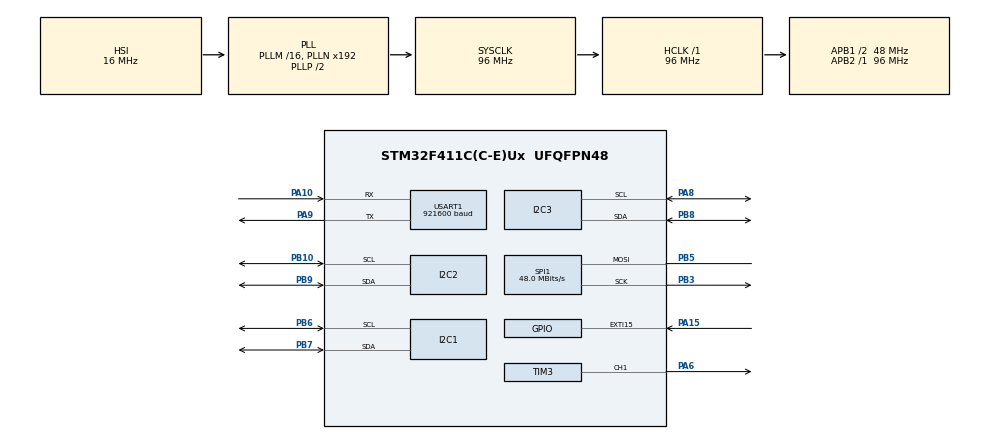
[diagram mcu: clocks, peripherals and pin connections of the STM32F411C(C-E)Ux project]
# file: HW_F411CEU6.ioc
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Dma.Request0=SPI1_TX
Dma.Request1=USART1_RX
Dma.Request2=USART1_TX
Dma.SPI1_TX.0.Direction=DMA_MEMORY_TO_PERIPH
Dma.SPI1_TX.0.FIFOMode=DMA_FIFOMODE_DISABLE
Dma.SPI1_TX.0.Instance=DMA2_Stream2
Dma.SPI1_TX.0.MemDataAlignment=DMA_MDATAALIGN_HALFWORD
Dma.SPI1_TX.0.MemInc=DMA_MINC_ENABLE
Dma.SPI1_TX.0.Mode=DMA_NORMAL
Dma.SPI1_TX.0.PeriphDataAlignment=DMA_PDATAALIGN_HALFWORD
Dma.SPI1_TX.0.PeriphInc=DMA_PINC_DISABLE
Dma.SPI1_TX.0.Priority=DMA_PRIORITY_VERY_HIGH
Dma.USART1_RX.1.Direction=DMA_PERIPH_TO_MEMORY
Dma.USART1_RX.1.FIFOMode=DMA_FIFOMODE_DISABLE
Dma.USART1_RX.1.Instance=DMA2_Stream5
Dma.USART1_RX.1.MemDataAlignment=DMA_MDATAALIGN_BYTE
Dma.USART1_RX.1.MemInc=DMA_MINC_ENABLE
Dma.USART1_RX.1.Mode=DMA_NORMAL
Dma.USART1_RX.1.PeriphDataAlignment=DMA_PDATAALIGN_BYTE
Dma.USART1_RX.1.PeriphInc=DMA_PINC_DISABLE
Dma.USART1_RX.1.Priority=DMA_PRIORITY_HIGH
Dma.USART1_TX.2.Direction=DMA_MEMORY_TO_PERIPH
Dma.USART1_TX.2.FIFOMode=DMA_FIFOMODE_DISABLE
Dma.USART1_TX.2.Instance=DMA2_Stream7
Dma.USART1_TX.2.MemDataAlignment=DMA_MDATAALIGN_BYTE
Dma.USART1_TX.2.MemInc=DMA_MINC_ENABLE
Dma.USART1_TX.2.Mode=DMA_NORMAL
Dma.USART1_TX.2.PeriphDataAlignment=DMA_PDATAALIGN_BYTE
Dma.USART1_TX.2.PeriphInc=DMA_PINC_DISABLE
Dma.USART1_TX.2.Priority=DMA_PRIORITY_HIGH
FREERTOS.INCLUDE_vTaskDelayUntil=1
FREERTOS.Queues01=EepromQueue,16,uint8_t,0,Static,EepromQueueBuffer,EepromQueueControlBlock;CliQueue,5,uint16_t,0,Static,CliQueueBuffer,CliQueueControlBlock
FREERTOS.Tasks01=EepromTask,0,128,StartEepromTask,Default,NULL,Static,EepromTaskBuffer,EepromTaskControlBlock;LvglTask,0,2048,StartLvglTask,Default,NULL,Static,LvglTaskBuffer,LvglTaskControlBlock;IdleTask,-3,128,StartIdleTask,Default,NULL,Static,IdleTaskBuffer,IdleTaskControlBlock
FREERTOS.configENABLE_FPU=0
FREERTOS.configMAX_PRIORITIES=5
FREERTOS.configMINIMAL_STACK_SIZE=128
FREERTOS.configTICK_RATE_HZ=200
FREERTOS.configTOTAL_HEAP_SIZE=5120
I2C1.I2C_Mode=I2C_Fast
I2C2.DutyCycle=I2C_DUTYCYCLE_2
I2C2.I2C_Mode=I2C_Fast
I2C2.NoStretchMode=I2C_NOSTRETCH_DISABLE
I2C3.I2C_Mode=I2C_Fast
IWDG.Prescaler=IWDG_PRESCALER_8
Mcu.Family=STM32F4
Mcu.Name=STM32F411C(C-E)Ux
Mcu.Package=UFQFPN48
NVIC.DMA2_Stream2_IRQn=true\:5\:0\:false\:false\:true\:true\:false\:true\:true
NVIC.DMA2_Stream5_IRQn=true\:5\:0\:false\:false\:true\:true\:false\:true\:true
NVIC.DMA2_Stream7_IRQn=true\:5\:0\:false\:false\:true\:true\:false\:true\:true
NVIC.EXTI15_10_IRQn=true\:5\:0\:false\:false\:true\:true\:true\:true\:true
NVIC.PriorityGroup=NVIC_PRIORITYGROUP_4
NVIC.TIM1_BRK_TIM9_IRQn=true\:15\:0\:false\:false\:true\:false\:false\:true\:true
NVIC.TIM1_TRG_COM_TIM11_IRQn=true\:5\:0\:false\:false\:true\:true\:true\:true\:true
NVIC.TimeBase=TIM1_BRK_TIM9_IRQn
NVIC.TimeBaseIP=TIM9
PA10.Mode=Asynchronous
PA10.Signal=USART1_RX
PA13.Mode=Serial_Wire
PA13.Signal=SYS_JTMS-SWDIO
PA14.Mode=Serial_Wire
PA14.Signal=SYS_JTCK-SWCLK
PA15.GPIO_ModeDefaultEXTI=GPIO_MODE_IT_FALLING
PA15.Signal=GPXTI15
PA6.Signal=S_TIM3_CH1
PA8.Mode=I2C
PA8.Signal=I2C3_SCL
PA9.Mode=Asynchronous
PA9.Signal=USART1_TX
PB10.Mode=I2C
PB10.Signal=I2C2_SCL
PB3.Mode=Simplex_Bidirectional_Master
PB3.Signal=SPI1_SCK
PB5.Mode=Simplex_Bidirectional_Master
PB5.Signal=SPI1_MOSI
PB6.Mode=I2C
PB6.Signal=I2C1_SCL
PB7.Mode=I2C
PB7.Signal=I2C1_SDA
PB8.Mode=I2C
PB8.Signal=I2C3_SDA
PB9.Mode=I2C
PB9.Signal=I2C2_SDA
PC14-OSC32_IN.Mode=LSE-External-Oscillator
PC14-OSC32_IN.Signal=RCC_OSC32_IN
PC15-OSC32_OUT.Mode=LSE-External-Oscillator
PC15-OSC32_OUT.Signal=RCC_OSC32_OUT
ProjectManager.HeapSize=0x200
ProjectManager.StackSize=0x400
ProjectManager.TargetToolchain=STM32CubeIDE
RCC.AHBFreq_Value=96000000
RCC.APB1CLKDivider=RCC_HCLK_DIV2
RCC.APB1Freq_Value=48000000
RCC.APB1TimFreq_Value=96000000
RCC.APB2Freq_Value=96000000
RCC.APB2TimFreq_Value=96000000
RCC.CortexFreq_Value=96000000
RCC.HCLKFreq_Value=96000000
RCC.HSE_VALUE=25000000
RCC.HSI_VALUE=16000000
RCC.RCC_RTC_Clock_Source=RCC_RTCCLKSOURCE_LSE
RCC.RCC_RTC_Clock_SourceVirtual=RCC_RTCCLKSOURCE_LSE
RCC.SYSCLKFreq_VALUE=96000000
RCC.SYSCLKSource=RCC_SYSCLKSOURCE_PLLCLK
RCC.VCOOutputFreq_Value=192000000
RTC.Format=RTC_FORMAT_BIN
RTC.SynchPrediv=255
SH.S_TIM3_CH1.0=TIM3_CH1,PWM Generation1 CH1
SPI1.BaudRatePrescaler=SPI_BAUDRATEPRESCALER_2
SPI1.CLKPhase=SPI_PHASE_2EDGE
SPI1.CLKPolarity=SPI_POLARITY_HIGH
SPI1.CalculateBaudRate=48.0 MBits/s
SPI1.Direction=SPI_DIRECTION_1LINE
SPI1.Mode=SPI_MODE_MASTER
SPI1.VirtualType=VM_MASTER
TIM11.AutoReloadPreload=TIM_AUTORELOAD_PRELOAD_ENABLE
TIM11.Period=4999
TIM11.Prescaler=9599
TIM3.Channel-PWM\ Generation1\ CH1=TIM_CHANNEL_1
TIM3.OCMode_PWM-PWM\ Generation1\ CH1=TIM_OCMODE_PWM1
TIM3.Period=300
TIM3.Prescaler=96
USART1.BaudRate=921600
USART1.VirtualMode=VM_ASYNC
VP_CRC_VS_CRC.Mode=CRC_Activate
VP_FREERTOS_VS_CMSIS_V1.Mode=CMSIS_V1
VP_IWDG_VS_IWDG.Mode=IWDG_Activate
VP_RTC_VS_RTC_Activate.Mode=RTC_Enabled
VP_RTC_VS_RTC_Calendar.Mode=RTC_Calendar
VP_SYS_VS_tim9.Mode=TIM9
VP_TIM11_VS_ClockSourceINT.Mode=Enable_Timer
board=custom

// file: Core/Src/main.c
/* USER CODE BEGIN Header */
/**
  ******************************************************************************
  * @file           : main.c
  * @brief          : Main program body
  ******************************************************************************
  * @attention
  *
  * Copyright (c) 2024 STMicroelectronics.
  * All rights reserved.
  *
  * This software is licensed under terms that can be found in the LICENSE file
  * in the root directory of this software component.
  * If no LICENSE file comes with this software, it is provided AS-IS.
  *
  ******************************************************************************
  */
/* USER CODE END Header */
#include "main.h"
#include "cmsis_os.h"

/* USER CODE BEGIN Includes */
#include "sys.h"
#include "power.h"
#include "nvm.h"
#include "RTC.h"
#include "ST7789.h"
#include "CST816.h"
#include "BL24C02F.h"

#include "cli.h"
#include "debugPins.h"

#include "lvgl/lvgl.h"
#include "lvgl/lv_port_disp.h"
#include "lvgl/lv_port_indev.h"
#include "lvgl/gui/GUI.h"
/* USER CODE END Includes */

CRC_HandleTypeDef hcrc;

I2C_HandleTypeDef hi2c1;
I2C_HandleTypeDef hi2c2;
I2C_HandleTypeDef hi2c3;

IWDG_HandleTypeDef hiwdg;

RTC_HandleTypeDef hrtc;

SPI_HandleTypeDef hspi1;
DMA_HandleTypeDef hdma_spi1_tx;

TIM_HandleTypeDef htim3;
TIM_HandleTypeDef htim11;

UART_HandleTypeDef huart1;
DMA_HandleTypeDef hdma_usart1_rx;
DMA_HandleTypeDef hdma_usart1_tx;

osThreadId EepromTaskHandle;
uint32_t EepromTaskBuffer[ 128 ];
osStaticThreadDef_t EepromTaskControlBlock;
osThreadId LvglTaskHandle;
uint32_t LvglTaskBuffer[ 2048 ];
osStaticThreadDef_t LvglTaskControlBlock;
osThreadId IdleTaskHandle;
uint32_t IdleTaskBuffer[ 128 ];
osStaticThreadDef_t IdleTaskControlBlock;
osMessageQId EepromQueueHandle;
uint8_t EepromQueueBuffer[ 16 * sizeof( uint8_t ) ];
osStaticMessageQDef_t EepromQueueControlBlock;
osMessageQId CliQueueHandle;
uint8_t CliQueueBuffer[ 5 * sizeof( uint16_t ) ];
osStaticMessageQDef_t CliQueueControlBlock;

void SystemClock_Config(void);
static void MX_GPIO_Init(void);
static void MX_DMA_Init(void);
static void MX_SPI1_Init(void);
static void MX_I2C1_Init(void);
static void MX_RTC_Init(void);
static void MX_I2C2_Init(void);
static void MX_TIM3_Init(void);
static void MX_CRC_Init(void);
static void MX_I2C3_Init(void);
static void MX_USART1_UART_Init(void);
static void MX_IWDG_Init(void);
static void MX_TIM11_Init(void);
void StartEepromTask(void const * argument);
void StartLvglTask(void const * argument);
void StartIdleTask(void const * argument);

int main(void)
{

  /* MCU Configuration--------------------------------------------------------*/

  /* Reset of all peripherals, Initializes the Flash interface and the Systick. */
  HAL_Init();

  /* USER CODE BEGIN Init */
  __enable_irq();
  /* USER CODE END Init */

  /* Configure the system clock */
  SystemClock_Config();

  /* USER CODE BEGIN SysInit */
  SYS_Build_Init();
  /* USER CODE END SysInit */

  /* Initialize all configured peripherals */
  MX_GPIO_Init();
  MX_DMA_Init();
  MX_SPI1_Init();
  MX_I2C1_Init();
  MX_RTC_Init();
  MX_I2C2_Init();
  MX_TIM3_Init();
  MX_CRC_Init();
  MX_I2C3_Init();
  MX_USART1_UART_Init();
  MX_IWDG_Init();
  MX_TIM11_Init();
  /* USER CODE BEGIN 2 */
  PWR_ENABLE();
  NvM_StartUp();
  PWR_Startup();
  RTC_Init();
  lv_init();
  lv_port_disp_init();
  lv_port_indev_init();
  GUI_Init();
  HAL_IWDG_Refresh(&hiwdg);

  /* USER CODE END 2 */

  /* Create the queue(s) */
  /* definition and creation of EepromQueue */
  osMessageQStaticDef(EepromQueue, 16, uint8_t, EepromQueueBuffer, &EepromQueueControlBlock);
  EepromQueueHandle = osMessageCreate(osMessageQ(EepromQueue), NULL);

  /* definition and creation of CliQueue */
  osMessageQStaticDef(CliQueue, 5, uint16_t, CliQueueBuffer, &CliQueueControlBlock);
  CliQueueHandle = osMessageCreate(osMessageQ(CliQueue), NULL);

  /* Create the thread(s) */
  /* definition and creation of EepromTask */
  osThreadStaticDef(EepromTask, StartEepromTask, osPriorityNormal, 0, 128, EepromTaskBuffer, &EepromTaskControlBlock);
  EepromTaskHandle = osThreadCreate(osThread(EepromTask), NULL);

  /* definition and creation of LvglTask */
  osThreadStaticDef(LvglTask, StartLvglTask, osPriorityNormal, 0, 2048, LvglTaskBuffer, &LvglTaskControlBlock);
  LvglTaskHandle = osThreadCreate(osThread(LvglTask), NULL);

  /* definition and creation of IdleTask */
  osThreadStaticDef(IdleTask, StartIdleTask, osPriorityIdle, 0, 128, IdleTaskBuffer, &IdleTaskControlBlock);
  IdleTaskHandle = osThreadCreate(osThread(IdleTask), NULL);

  /* Start scheduler */
  osKernelStart();

  /* We should never get here as control is now taken by the scheduler */
  /* Infinite loop */
  while (1)
  {

  }
}

void SystemClock_Config(void)
{
  RCC_OscInitTypeDef RCC_OscInitStruct = {0};
  RCC_ClkInitTypeDef RCC_ClkInitStruct = {0};

  /** Configure the main internal regulator output voltage
  */
  __HAL_RCC_PWR_CLK_ENABLE();
  __HAL_PWR_VOLTAGESCALING_CONFIG(PWR_REGULATOR_VOLTAGE_SCALE1);

  /** Initializes the RCC Oscillators according to the specified parameters
  * in the RCC_OscInitTypeDef structure.
  */
  RCC_OscInitStruct.OscillatorType = RCC_OSCILLATORTYPE_HSI|RCC_OSCILLATORTYPE_LSI
                              |RCC_OSCILLATORTYPE_LSE;
  RCC_OscInitStruct.LSEState = RCC_LSE_ON;
  RCC_OscInitStruct.HSIState = RCC_HSI_ON;
  RCC_OscInitStruct.HSICalibrationValue = RCC_HSICALIBRATION_DEFAULT;
  RCC_OscInitStruct.LSIState = RCC_LSI_ON;
  RCC_OscInitStruct.PLL.PLLState = RCC_PLL_ON;
  RCC_OscInitStruct.PLL.PLLSource = RCC_PLLSOURCE_HSI;
  RCC_OscInitStruct.PLL.PLLM = 16;
  RCC_OscInitStruct.PLL.PLLN = 192;
  RCC_OscInitStruct.PLL.PLLP = RCC_PLLP_DIV2;
  RCC_OscInitStruct.PLL.PLLQ = 4;
  if (HAL_RCC_OscConfig(&RCC_OscInitStruct) != HAL_OK)
  {
    Error_Handler();
  }

  /** Initializes the CPU, AHB and APB buses clocks
  */
  RCC_ClkInitStruct.ClockType = RCC_CLOCKTYPE_HCLK|RCC_CLOCKTYPE_SYSCLK
                              |RCC_CLOCKTYPE_PCLK1|RCC_CLOCKTYPE_PCLK2;
  RCC_ClkInitStruct.SYSCLKSource = RCC_SYSCLKSOURCE_PLLCLK;
  RCC_ClkInitStruct.AHBCLKDivider = RCC_SYSCLK_DIV1;
  RCC_ClkInitStruct.APB1CLKDivider = RCC_HCLK_DIV2;
  RCC_ClkInitStruct.APB2CLKDivider = RCC_HCLK_DIV1;

  if (HAL_RCC_ClockConfig(&RCC_ClkInitStruct, FLASH_LATENCY_3) != HAL_OK)
  {
    Error_Handler();
  }
}

static void MX_CRC_Init(void)
{

  hcrc.Instance = CRC;
  if (HAL_CRC_Init(&hcrc) != HAL_OK)
  {
    Error_Handler();
  }

}

static void MX_I2C1_Init(void)
{

  hi2c1.Instance = I2C1;
  hi2c1.Init.ClockSpeed = 400000;
  hi2c1.Init.DutyCycle = I2C_DUTYCYCLE_2;
  hi2c1.Init.OwnAddress1 = 0;
  hi2c1.Init.AddressingMode = I2C_ADDRESSINGMODE_7BIT;
  hi2c1.Init.DualAddressMode = I2C_DUALADDRESS_DISABLE;
  hi2c1.Init.OwnAddress2 = 0;
  hi2c1.Init.GeneralCallMode = I2C_GENERALCALL_DISABLE;
  hi2c1.Init.NoStretchMode = I2C_NOSTRETCH_DISABLE;
  if (HAL_I2C_Init(&hi2c1) != HAL_OK)
  {
    Error_Handler();
  }

}

static void MX_I2C2_Init(void)
{

  hi2c2.Instance = I2C2;
  hi2c2.Init.ClockSpeed = 400000;
  hi2c2.Init.DutyCycle = I2C_DUTYCYCLE_2;
  hi2c2.Init.OwnAddress1 = 0;
  hi2c2.Init.AddressingMode = I2C_ADDRESSINGMODE_7BIT;
  hi2c2.Init.DualAddressMode = I2C_DUALADDRESS_DISABLE;
  hi2c2.Init.OwnAddress2 = 0;
  hi2c2.Init.GeneralCallMode = I2C_GENERALCALL_DISABLE;
  hi2c2.Init.NoStretchMode = I2C_NOSTRETCH_DISABLE;
  if (HAL_I2C_Init(&hi2c2) != HAL_OK)
  {
    Error_Handler();
  }

}

static void MX_I2C3_Init(void)
{

  hi2c3.Instance = I2C3;
  hi2c3.Init.ClockSpeed = 400000;
  hi2c3.Init.DutyCycle = I2C_DUTYCYCLE_2;
  hi2c3.Init.OwnAddress1 = 0;
  hi2c3.Init.AddressingMode = I2C_ADDRESSINGMODE_7BIT;
  hi2c3.Init.DualAddressMode = I2C_DUALADDRESS_DISABLE;
  hi2c3.Init.OwnAddress2 = 0;
  hi2c3.Init.GeneralCallMode = I2C_GENERALCALL_DISABLE;
  hi2c3.Init.NoStretchMode = I2C_NOSTRETCH_DISABLE;
  if (HAL_I2C_Init(&hi2c3) != HAL_OK)
  {
    Error_Handler();
  }

}

static void MX_IWDG_Init(void)
{

  hiwdg.Instance = IWDG;
  hiwdg.Init.Prescaler = IWDG_PRESCALER_8;
  hiwdg.Init.Reload = 4095;
  if (HAL_IWDG_Init(&hiwdg) != HAL_OK)
  {
    Error_Handler();
  }

}

static void MX_RTC_Init(void)
{

  /* USER CODE BEGIN RTC_Init 0 */
  /* Exit this function, so user code can be executed later. */
  return;
  /* USER CODE END RTC_Init 0 */

  RTC_TimeTypeDef sTime = {0};
  RTC_DateTypeDef sDate = {0};

  /** Initialize RTC Only
  */
  hrtc.Instance = RTC;
  hrtc.Init.HourFormat = RTC_HOURFORMAT_24;
  hrtc.Init.AsynchPrediv = 127;
  hrtc.Init.SynchPrediv = 255;
  hrtc.Init.OutPut = RTC_OUTPUT_DISABLE;
  hrtc.Init.OutPutPolarity = RTC_OUTPUT_POLARITY_HIGH;
  hrtc.Init.OutPutType = RTC_OUTPUT_TYPE_OPENDRAIN;
  if (HAL_RTC_Init(&hrtc) != HAL_OK)
  {
    Error_Handler();
  }

  /** Initialize RTC and set the Time and Date
  */
  sTime.Hours = 0;
  sTime.Minutes = 0;
  sTime.Seconds = 0;
  sTime.DayLightSaving = RTC_DAYLIGHTSAVING_NONE;
  sTime.StoreOperation = RTC_STOREOPERATION_RESET;
  if (HAL_RTC_SetTime(&hrtc, &sTime, RTC_FORMAT_BIN) != HAL_OK)
  {
    Error_Handler();
  }
  sDate.WeekDay = RTC_WEEKDAY_MONDAY;
  sDate.Month = RTC_MONTH_JANUARY;
  sDate.Date = 1;
  sDate.Year = 0;

  if (HAL_RTC_SetDate(&hrtc, &sDate, RTC_FORMAT_BIN) != HAL_OK)
  {
    Error_Handler();
  }

}

static void MX_SPI1_Init(void)
{

  /* SPI1 parameter configuration*/
  hspi1.Instance = SPI1;
  hspi1.Init.Mode = SPI_MODE_MASTER;
  hspi1.Init.Direction = SPI_DIRECTION_1LINE;
  hspi1.Init.DataSize = SPI_DATASIZE_8BIT;
  hspi1.Init.CLKPolarity = SPI_POLARITY_HIGH;
  hspi1.Init.CLKPhase = SPI_PHASE_2EDGE;
  hspi1.Init.NSS = SPI_NSS_SOFT;
  hspi1.Init.BaudRatePrescaler = SPI_BAUDRATEPRESCALER_2;
  hspi1.Init.FirstBit = SPI_FIRSTBIT_MSB;
  hspi1.Init.TIMode = SPI_TIMODE_DISABLE;
  hspi1.Init.CRCCalculation = SPI_CRCCALCULATION_DISABLE;
  hspi1.Init.CRCPolynomial = 10;
  if (HAL_SPI_Init(&hspi1) != HAL_OK)
  {
    Error_Handler();
  }

}

static void MX_TIM3_Init(void)
{

  TIM_MasterConfigTypeDef sMasterConfig = {0};
  TIM_OC_InitTypeDef sConfigOC = {0};

  htim3.Instance = TIM3;
  htim3.Init.Prescaler = 96;
  htim3.Init.CounterMode = TIM_COUNTERMODE_UP;
  htim3.Init.Period = 300;
  htim3.Init.ClockDivision = TIM_CLOCKDIVISION_DIV1;
  htim3.Init.AutoReloadPreload = TIM_AUTORELOAD_PRELOAD_DISABLE;
  if (HAL_TIM_PWM_Init(&htim3) != HAL_OK)
  {
    Error_Handler();
  }
  sMasterConfig.MasterOutputTrigger = TIM_TRGO_RESET;
  sMasterConfig.MasterSlaveMode = TIM_MASTERSLAVEMODE_DISABLE;
  if (HAL_TIMEx_MasterConfigSynchronization(&htim3, &sMasterConfig) != HAL_OK)
  {
    Error_Handler();
  }
  sConfigOC.OCMode = TIM_OCMODE_PWM1;
  sConfigOC.Pulse = 0;
  sConfigOC.OCPolarity = TIM_OCPOLARITY_HIGH;
  sConfigOC.OCFastMode = TIM_OCFAST_DISABLE;
  if (HAL_TIM_PWM_ConfigChannel(&htim3, &sConfigOC, TIM_CHANNEL_1) != HAL_OK)
  {
    Error_Handler();
  }
  HAL_TIM_MspPostInit(&htim3);

}

static void MX_TIM11_Init(void)
{

  htim11.Instance = TIM11;
  htim11.Init.Prescaler = 9599;
  htim11.Init.CounterMode = TIM_COUNTERMODE_UP;
  htim11.Init.Period = 4999;
  htim11.Init.ClockDivision = TIM_CLOCKDIVISION_DIV1;
  htim11.Init.AutoReloadPreload = TIM_AUTORELOAD_PRELOAD_ENABLE;
  if (HAL_TIM_Base_Init(&htim11) != HAL_OK)
  {
    Error_Handler();
  }
  /* USER CODE BEGIN TIM11_Init 2 */
  HAL_TIM_Base_Start_IT(&htim11);
  /* USER CODE END TIM11_Init 2 */

}

static void MX_USART1_UART_Init(void)
{

  huart1.Instance = USART1;
  huart1.Init.BaudRate = 921600;
  huart1.Init.WordLength = UART_WORDLENGTH_8B;
  huart1.Init.StopBits = UART_STOPBITS_1;
  huart1.Init.Parity = UART_PARITY_NONE;
  huart1.Init.Mode = UART_MODE_TX_RX;
  huart1.Init.HwFlowCtl = UART_HWCONTROL_NONE;
  huart1.Init.OverSampling = UART_OVERSAMPLING_16;
  if (HAL_UART_Init(&huart1) != HAL_OK)
  {
    Error_Handler();
  }

}

static void MX_DMA_Init(void)
{

  /* DMA controller clock enable */
  __HAL_RCC_DMA2_CLK_ENABLE();

  /* DMA interrupt init */
  /* DMA2_Stream2_IRQn interrupt configuration */
  HAL_NVIC_SetPriority(DMA2_Stream2_IRQn, 5, 0);
  HAL_NVIC_EnableIRQ(DMA2_Stream2_IRQn);
  /* DMA2_Stream5_IRQn interrupt configuration */
  HAL_NVIC_SetPriority(DMA2_Stream5_IRQn, 5, 0);
  HAL_NVIC_EnableIRQ(DMA2_Stream5_IRQn);
  /* DMA2_Stream7_IRQn interrupt configuration */
  HAL_NVIC_SetPriority(DMA2_Stream7_IRQn, 5, 0);
  HAL_NVIC_EnableIRQ(DMA2_Stream7_IRQn);

}

static void MX_GPIO_Init(void)
{
  GPIO_InitTypeDef GPIO_InitStruct = {0};

  /* GPIO Ports Clock Enable */
  __HAL_RCC_GPIOC_CLK_ENABLE();
  __HAL_RCC_GPIOA_CLK_ENABLE();
  __HAL_RCC_GPIOB_CLK_ENABLE();

  /*Configure GPIO pin : PA15 */
  GPIO_InitStruct.Pin = GPIO_PIN_15;
  GPIO_InitStruct.Mode = GPIO_MODE_IT_FALLING;
  GPIO_InitStruct.Pull = GPIO_NOPULL;
  HAL_GPIO_Init(GPIOA, &GPIO_InitStruct);

  /* EXTI interrupt init*/
  HAL_NVIC_SetPriority(EXTI15_10_IRQn, 5, 0);
  HAL_NVIC_EnableIRQ(EXTI15_10_IRQn);

/* USER CODE BEGIN MX_GPIO_Init_2 */
  PWR_GPIO_Init();
  DebugPins_GPIO_Init();

  CST816_GPIO_Init();

/* USER CODE END MX_GPIO_Init_2 */
}

void StartEepromTask(void const * argument)
{
  /* USER CODE BEGIN 5 */
  NvM_Block_t block_type;

  /* Infinite loop */
  for(;;)
  {
	  if (xQueueReceive(EepromQueueHandle,
			  &block_type,
			  (TickType_t) 100) == pdPASS)
	  {
      CLI_SYNC_TASK_START(NvM);

		  switch (block_type)
		  {
		      case NvM_Block_RTC:
		      {
		    	  NvM_Save_RTC();
		    	  break;
		      }
          case NvM_Block_Display:
          {
            NvM_Save_Display();
            break;
          }
          case NvM_Block_System:
          {
            NvM_Save_System();
            break;
          }
		      default:
		      {
		    	  break;
		      }
      }

		  /* After each block that should be saved --> calculate crc and save it also in NvM. */
		  nvm_ram.validity.crc = NvM_CalculateCRC();
		  NvM_Save_Validity();

      CLI_SYNC_TASK_FINISH(NvM);
	  }
  }
  /* USER CODE END 5 */
}

void StartLvglTask(void const * argument)
{
  /* USER CODE BEGIN StartLvglTask */

  /* Provide tick source to LVGL */
  lv_tick_set_cb(HAL_GetTick);

  /* Infinite loop */
  for(;;)
  {
    CLI_SYNC_TASK_START(LV);

	  lv_timer_handler();

    CLI_SYNC_TASK_FINISH(LV);

	  vTaskDelay(1);
  }
  /* USER CODE END StartLvglTask */
}

void StartIdleTask(void const * argument)
{
  /* USER CODE BEGIN StartIdleTask */
  /* Infinite loop */
  for(;;)
  {
    CLI_SYNC_TASK_START(Idle);

	  /* Update Current Date and Time. */
	  RTC_Cyclic_1s();

    /* Power Manager. */
    PWR_Cyclic();

	  /* Feed the watchdog */
	  HAL_IWDG_Refresh(&hiwdg);

    CLI_SYNC_TASK_FINISH(Idle);

	  vTaskDelay(1);
  }
  /* USER CODE END StartIdleTask */
}

void HAL_TIM_PeriodElapsedCallback(TIM_HandleTypeDef *htim)
{
  if (htim->Instance == TIM9) {
    HAL_IncTick();
  }
  /* USER CODE BEGIN Callback 1 */

  /* Timer riches this interrupt once in 500 mS. */
  if (htim->Instance == TIM11)
    {
      /* Notify that this is time to update RTC data. */
      RTC_DateTimeUpdate_Notify();

      /* Update */
      PWR_PowerMode_IncreaseCounter(500);
    }
  /* USER CODE END Callback 1 */
}

void Error_Handler(void)
{
  __disable_irq();
  while (1)
  {
  }
}
